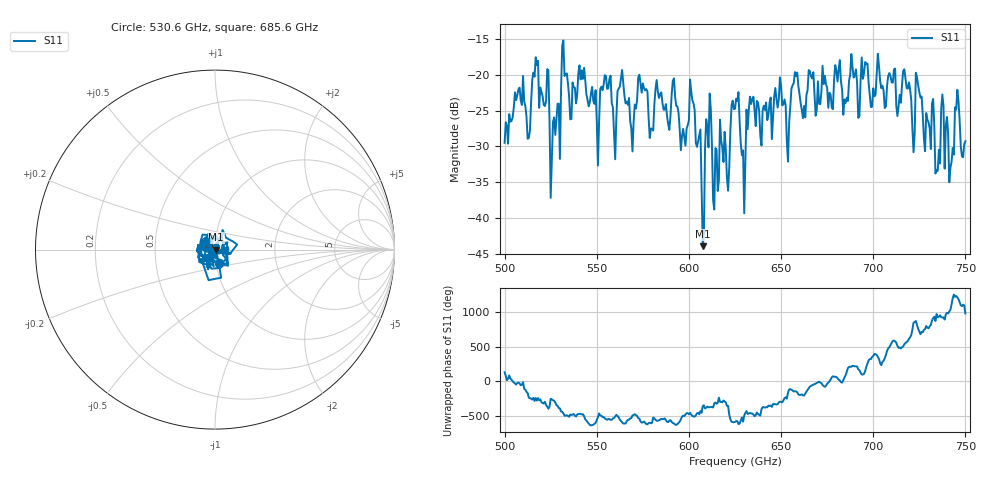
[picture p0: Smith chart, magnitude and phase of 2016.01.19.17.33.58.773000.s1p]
!Created with skrf (http://scikit-rf.org).
# GHz S RI R 50.0
!freq ReS11 ImS11
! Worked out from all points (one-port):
!   401 points, 500 GHz to 750 GHz, reference 50 ohm
!   lowest |S11| = -43.9 dB at 607.5 GHz (marker M1), VSWR 1.01, Z = 50.6 + j0.0505 ohm
!   |S11| at or under -10 dB: start of sweep to end of sweep
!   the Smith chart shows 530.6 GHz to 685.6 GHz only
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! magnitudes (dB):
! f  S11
! 500 GHz  -29.5
! 506.9 GHz  -22.9
! 513.1 GHz  -28.8
! 516.9 GHz  -17.5
! 526.2 GHz  -26.6
! 531.2 GHz  -15.9
! 550 GHz  -26.4
! 556.2 GHz  -21.9
! 559.4 GHz  -28.1
! 562.5 GHz  -21.7
! 569.4 GHz  -30.7
! 593.8 GHz  -24.4
! 601.9 GHz  -23.5
! 607.5 GHz  -43.9
! 610.6 GHz  -30.1
! 614.4 GHz  -30.2
! 625 GHz  -24.7
! 629.4 GHz  -30.6
! 633.8 GHz  -24.1
! 653.8 GHz  -32.1
! 656.2 GHz  -21.5
! 687.5 GHz  -20.0
! 718.8 GHz  -21.9
! 735 GHz  -33.4
! 738.1 GHz  -24.4
! 742.5 GHz  -32.2
! 745.6 GHz  -22.1
! 750 GHz  -29.3
